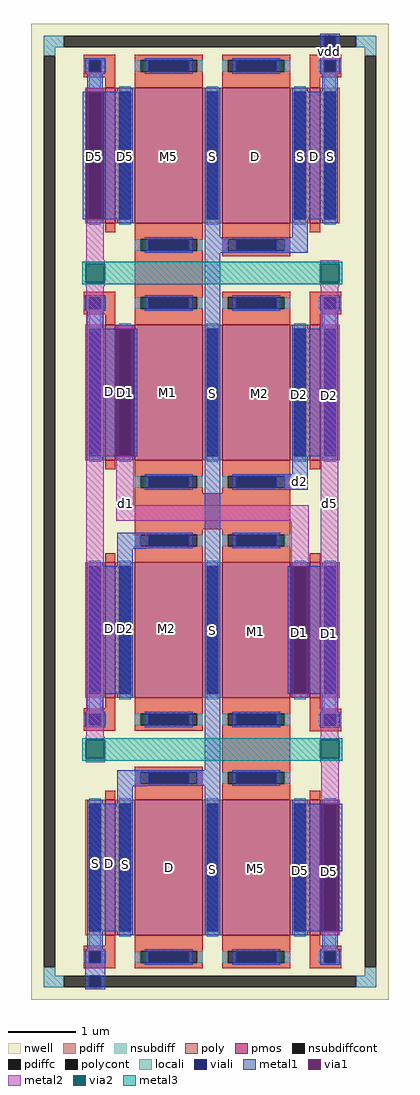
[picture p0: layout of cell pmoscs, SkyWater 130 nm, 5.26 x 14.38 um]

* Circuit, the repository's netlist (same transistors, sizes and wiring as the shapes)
** sch_path: /home/jevon/opamp/mag/pmoscs.sch
.subckt pmoscs VDD D5 D2 D1
*.PININFO VDD:B D5:B D2:B D1:B
XM1 D1 D2 VDD VDD sky130_fd_pr__pfet_01v8 L=1 W=2 nf=1 m=2
XM2 D2 D2 VDD VDD sky130_fd_pr__pfet_01v8 L=1 W=2 nf=1 m=2
XM5 D5 D2 VDD VDD sky130_fd_pr__pfet_01v8 L=1 W=2 nf=1 m=2
XM3 VDD VDD VDD VDD sky130_fd_pr__pfet_01v8 L=1 W=2 nf=1 m=2
XM4 VDD VDD VDD VDD sky130_fd_pr__pfet_01v8 L=0.15 W=2 nf=1 m=2
XM6 D2 D2 D2 VDD sky130_fd_pr__pfet_01v8 L=0.15 W=2 nf=1 m=2
XM7 D1 D1 D1 VDD sky130_fd_pr__pfet_01v8 L=0.15 W=2 nf=1 m=2
XM8 D5 D5 D5 VDD sky130_fd_pr__pfet_01v8 L=0.15 W=2 nf=1 m=2
.ends
.end

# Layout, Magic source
magic
tech sky130A
magscale 1 2
<< nwell >>
rect -212 -1335 841 1542
<< nsubdiff >>
rect -176 1472 -116 1506
rect 745 1472 805 1506
rect -176 1447 -142 1472
rect 771 1447 805 1472
rect -176 -1265 -142 -1240
rect 771 -1265 805 -1240
rect -176 -1299 -116 -1265
rect 745 -1299 805 -1265
<< nsubdiffcont >>
rect -116 1472 745 1506
rect -176 -1240 -142 1447
rect 771 -1240 805 1447
rect -116 -1299 745 -1265
<< poly >>
rect -57 1434 35 1450
rect -57 1400 -41 1434
rect -7 1400 35 1434
rect -57 1384 35 1400
rect 5 1353 35 1384
rect 609 1434 701 1450
rect 609 1400 651 1434
rect 685 1400 701 1434
rect 609 1384 701 1400
rect 609 1374 639 1384
rect 93 751 293 856
rect -57 735 35 751
rect -57 701 -41 735
rect -7 701 35 735
rect -57 685 35 701
rect 5 654 35 685
rect 609 735 701 751
rect 609 701 651 735
rect 685 701 701 735
rect 609 685 701 701
rect 609 654 639 685
rect 93 51 551 157
rect 5 -477 35 -446
rect -57 -493 35 -477
rect -57 -527 -41 -493
rect -7 -527 35 -493
rect -57 -543 35 -527
rect 609 -478 639 -448
rect 609 -494 701 -478
rect 609 -528 651 -494
rect 685 -528 701 -494
rect 351 -649 551 -543
rect 609 -544 701 -528
rect 5 -1177 35 -1146
rect -57 -1193 35 -1177
rect -57 -1227 -41 -1193
rect -7 -1227 35 -1193
rect -57 -1243 35 -1227
rect 609 -1177 639 -1147
rect 609 -1193 701 -1177
rect 609 -1227 651 -1193
rect 685 -1227 701 -1193
rect 609 -1243 701 -1227
<< polycont >>
rect -41 1400 -7 1434
rect 651 1400 685 1434
rect -41 701 -7 735
rect 651 701 685 735
rect -41 -527 -7 -493
rect 651 -528 685 -494
rect -41 -1227 -7 -1193
rect 651 -1227 685 -1193
<< locali >>
rect -176 1472 -116 1506
rect 745 1472 805 1506
rect -176 1447 -142 1472
rect 771 1447 805 1472
rect -57 1400 -41 1434
rect -7 1400 9 1434
rect 635 1400 651 1434
rect 685 1400 701 1434
rect -41 1353 -7 1400
rect 651 1346 685 1400
rect -57 701 -41 735
rect -7 701 9 735
rect 635 701 651 735
rect 685 701 701 735
rect -41 654 -7 701
rect 651 654 685 701
rect -41 -493 -7 -431
rect -57 -527 -41 -493
rect -7 -527 9 -493
rect 651 -494 685 -448
rect 635 -528 651 -494
rect 685 -528 701 -494
rect -41 -1193 -7 -1146
rect 651 -1193 685 -1124
rect -57 -1227 -41 -1193
rect -7 -1227 9 -1193
rect 635 -1227 651 -1193
rect 685 -1227 701 -1193
rect -176 -1265 -142 -1240
rect 771 -1265 805 -1240
rect -176 -1299 -116 -1265
rect 745 -1299 805 -1265
<< viali >>
rect 651 1472 685 1506
rect -41 1400 -7 1434
rect 651 1400 685 1434
rect -41 701 -7 735
rect 651 701 685 735
rect -41 -527 -7 -493
rect 651 -528 685 -494
rect -41 -1227 -7 -1193
rect 651 -1227 685 -1193
rect -41 -1299 -7 -1265
<< metal1 >>
rect 639 1506 697 1512
rect 639 1472 651 1506
rect 685 1472 697 1506
rect -53 1434 5 1440
rect -53 1400 -41 1434
rect -7 1400 5 1434
rect -53 1394 5 1400
rect 639 1434 697 1472
rect 639 1400 651 1434
rect 685 1400 697 1434
rect 639 1394 697 1400
rect -47 1353 -1 1394
rect -60 965 -50 1341
rect 2 965 81 1341
rect 299 912 345 1353
rect 645 1343 691 1394
rect 563 965 685 1341
rect 557 912 603 958
rect 299 866 387 912
rect 519 866 603 912
rect -53 735 5 741
rect -53 701 -41 735
rect -7 701 5 735
rect -53 695 5 701
rect -47 654 -1 695
rect -41 266 38 642
rect 90 266 100 642
rect 41 -6 126 41
rect 41 -49 87 -6
rect -41 -434 81 -58
rect -41 -446 0 -434
rect -47 -487 -1 -446
rect -53 -493 5 -487
rect -53 -527 -41 -493
rect -7 -527 5 -493
rect -53 -533 5 -527
rect 299 -659 345 866
rect 639 735 697 741
rect 639 701 651 735
rect 685 701 697 735
rect 639 695 697 701
rect 645 654 691 695
rect 563 266 685 642
rect 557 213 603 262
rect 520 167 603 213
rect 544 -434 554 -58
rect 606 -413 685 -58
rect 606 -434 691 -413
rect 645 -488 691 -434
rect 639 -494 697 -488
rect 639 -528 651 -494
rect 685 -528 697 -494
rect 639 -534 697 -528
rect 41 -706 126 -659
rect 256 -705 345 -659
rect 41 -751 87 -706
rect -41 -1134 81 -758
rect -41 -1146 -1 -1134
rect 299 -1146 345 -705
rect 563 -1134 642 -758
rect 694 -1134 704 -758
rect -47 -1187 -1 -1146
rect 645 -1187 691 -1134
rect -53 -1193 5 -1187
rect -53 -1227 -41 -1193
rect -7 -1227 5 -1193
rect -53 -1265 5 -1227
rect 639 -1193 697 -1187
rect 639 -1227 651 -1193
rect 685 -1227 697 -1193
rect 639 -1233 697 -1227
rect -53 -1299 -41 -1265
rect -7 -1299 5 -1265
rect -53 -1305 5 -1299
<< via1 >>
rect -50 965 2 1341
rect 38 266 90 642
rect 554 -434 606 -58
rect 642 -1134 694 -758
<< metal2 >>
rect -50 1341 2 1351
rect -50 844 2 965
rect -52 834 4 844
rect -52 768 4 778
rect 639 834 695 844
rect 639 768 695 778
rect -50 -560 2 768
rect 38 642 90 652
rect 38 122 90 266
rect 38 76 606 122
rect 554 -58 606 76
rect 554 -444 606 -434
rect 641 -560 693 768
rect -52 -570 4 -560
rect -52 -636 4 -626
rect 639 -570 695 -560
rect 639 -636 695 -626
rect 642 -758 694 -636
rect 642 -1145 694 -1134
<< via2 >>
rect -52 778 4 834
rect 639 778 695 834
rect -52 -626 4 -570
rect 639 -626 695 -570
<< metal3 >>
rect -62 834 705 839
rect -62 778 -52 834
rect 4 778 639 834
rect 695 778 705 834
rect -62 773 705 778
rect -62 -570 705 -565
rect -62 -626 -52 -570
rect 4 -626 639 -570
rect 695 -626 705 -570
rect -62 -631 705 -626
use sky130_fd_pr__pfet_01v8_2ZH9AN  sky130_fd_pr__pfet_01v8_2ZH9AN_0
transform 1 0 624 0 1 454
box -109 -262 109 262
use sky130_fd_pr__pfet_01v8_2ZH9AN  sky130_fd_pr__pfet_01v8_2ZH9AN_1
transform 1 0 624 0 1 -946
box -109 -262 109 262
use sky130_fd_pr__pfet_01v8_2ZH9AN  sky130_fd_pr__pfet_01v8_2ZH9AN_2
transform 1 0 624 0 1 -246
box -109 -262 109 262
use sky130_fd_pr__pfet_01v8_2ZH9AN  sky130_fd_pr__pfet_01v8_2ZH9AN_3
transform 1 0 20 0 1 -946
box -109 -262 109 262
use sky130_fd_pr__pfet_01v8_2ZH9AN  sky130_fd_pr__pfet_01v8_2ZH9AN_4
transform 1 0 20 0 1 -246
box -109 -262 109 262
use sky130_fd_pr__pfet_01v8_2ZH9AN  sky130_fd_pr__pfet_01v8_2ZH9AN_5
transform 1 0 20 0 1 454
box -109 -262 109 262
use sky130_fd_pr__pfet_01v8_2ZH9AN  sky130_fd_pr__pfet_01v8_2ZH9AN_6
transform 1 0 20 0 1 1153
box -109 -262 109 262
use sky130_fd_pr__pfet_01v8_2ZH9AN  sky130_fd_pr__pfet_01v8_2ZH9AN_7
transform 1 0 624 0 1 1153
box -109 -262 109 262
use sky130_fd_pr__pfet_01v8_SDE6B7  sky130_fd_pr__pfet_01v8_SDE6B7_0
transform 1 0 322 0 1 1153
box -323 -300 323 300
use sky130_fd_pr__pfet_01v8_SDE6B7  sky130_fd_pr__pfet_01v8_SDE6B7_1
transform 1 0 322 0 1 454
box -323 -300 323 300
use sky130_fd_pr__pfet_01v8_SDE6B7  sky130_fd_pr__pfet_01v8_SDE6B7_2
transform 1 0 322 0 1 -246
box -323 -300 323 300
use sky130_fd_pr__pfet_01v8_SDE6B7  sky130_fd_pr__pfet_01v8_SDE6B7_3
transform 1 0 322 0 1 -946
box -323 -300 323 300
<< labels >>
flabel nwell 668 -957 668 -957 0 FreeSans 160 0 0 0 D5
flabel nwell 624 -958 624 -958 0 FreeSans 160 0 0 0 D
flabel nwell 580 -954 580 -954 0 FreeSans 160 0 0 0 D5
flabel nwell 450 -948 450 -948 0 FreeSans 160 0 0 0 M5
flabel nwell 323 -951 323 -951 0 FreeSans 160 0 0 0 S
flabel nwell 195 -945 195 -945 0 FreeSans 160 0 0 0 D
flabel nwell 64 -938 64 -938 0 FreeSans 160 0 0 0 S
flabel nwell 19 -935 19 -935 0 FreeSans 160 0 0 0 D
flabel nwell -23 -934 -23 -934 0 FreeSans 160 0 0 0 S
flabel nwell 668 -255 668 -255 0 FreeSans 160 0 0 0 D1
flabel nwell 624 -257 624 -257 0 FreeSans 160 0 0 0 D
flabel nwell 578 -254 578 -254 0 FreeSans 160 0 0 0 D1
flabel nwell 448 -250 448 -250 0 FreeSans 160 0 0 0 M1
flabel nwell 323 -246 323 -246 0 FreeSans 160 0 0 0 S
flabel nwell 187 -242 187 -242 0 FreeSans 160 0 0 0 M2
flabel nwell 66 -242 66 -242 0 FreeSans 160 0 0 0 D2
flabel nwell 17 -242 17 -242 0 FreeSans 160 0 0 0 D
flabel nwell -26 -238 -26 -238 0 FreeSans 160 0 0 0 D2
flabel nwell 667 444 667 444 0 FreeSans 160 0 0 0 D2
flabel nwell 624 445 624 445 0 FreeSans 160 0 0 0 D
flabel nwell 578 447 578 447 0 FreeSans 160 0 0 0 D2
flabel nwell 459 451 459 451 0 FreeSans 160 0 0 0 M2
flabel nwell 322 451 322 451 0 FreeSans 160 0 0 0 S
flabel nwell 190 454 190 454 0 FreeSans 160 0 0 0 M1
flabel nwell 65 455 65 455 0 FreeSans 160 0 0 0 D1
flabel nwell 19 457 19 457 0 FreeSans 160 0 0 0 D
flabel nwell -23 460 -23 460 0 FreeSans 160 0 0 0 D1
flabel nwell 669 1149 669 1149 0 FreeSans 160 0 0 0 S
flabel nwell 624 1149 624 1149 0 FreeSans 160 0 0 0 D
flabel nwell 580 1149 580 1149 0 FreeSans 160 0 0 0 S
flabel nwell 450 1149 450 1149 0 FreeSans 160 0 0 0 D
flabel nwell 322 1149 322 1149 0 FreeSans 160 0 0 0 S
flabel nwell 192 1149 192 1149 0 FreeSans 160 0 0 0 M5
flabel nwell 64 1149 64 1149 0 FreeSans 160 0 0 0 D5
flabel nwell 20 1149 20 1149 0 FreeSans 160 0 0 0 D
flabel nwell -25 1149 -25 1149 0 FreeSans 160 0 0 0 D5
flabel metal1 668 1460 668 1460 0 FreeSans 160 0 0 0 vdd
port 1 nsew
flabel metal2 64 126 64 126 0 FreeSans 160 0 0 0 d1
port 2 nsew
flabel metal1 578 192 578 192 0 FreeSans 160 0 0 0 d2
port 3 nsew
flabel metal2 667 126 667 126 0 FreeSans 160 0 0 0 d5
port 4 nsew
<< end >>

# cell sky130_fd_pr__pfet_01v8_2ZH9AN: kit device sky130_fd_pr__pfet_01v8, w 2 l 0.15 m 1 nf 1 diffcov 100 polycov 100 guard 0 glc 1 grc 1 gtc 1 gbc 1 tbcov 100 rlcov 100 topc 0 botc 0 poverlap 0 doverlap 1 lmin 0.15 wmin 0.42 compatible {sky130_fd_pr__pfet_01v8 sky130_fd_pr__pfet_01v8_lvt sky130_fd_pr__pfet_01v8_hvt sky130_fd_pr__pfet_g5v0d10v5} full_metal 1 viasrc 100 viadrn 100 viagate 100 viagb 0 viagr 0 viagl 0 viagt 0

# cell sky130_fd_pr__pfet_01v8_SDE6B7: kit device sky130_fd_pr__pfet_01v8, w 2 l 1 m 1 nf 2 diffcov 100 polycov 100 guard 0 glc 1 grc 1 gtc 1 gbc 1 tbcov 100 rlcov 100 topc 1 botc 1 poverlap 0 doverlap 1 lmin 0.15 wmin 0.42 compatible {sky130_fd_pr__pfet_01v8 sky130_fd_pr__pfet_01v8_lvt sky130_fd_pr__pfet_01v8_hvt sky130_fd_pr__pfet_g5v0d10v5} full_metal 1 viasrc 100 viadrn 100 viagate 70 viagb 0 viagr 0 viagl 0 viagt 0
